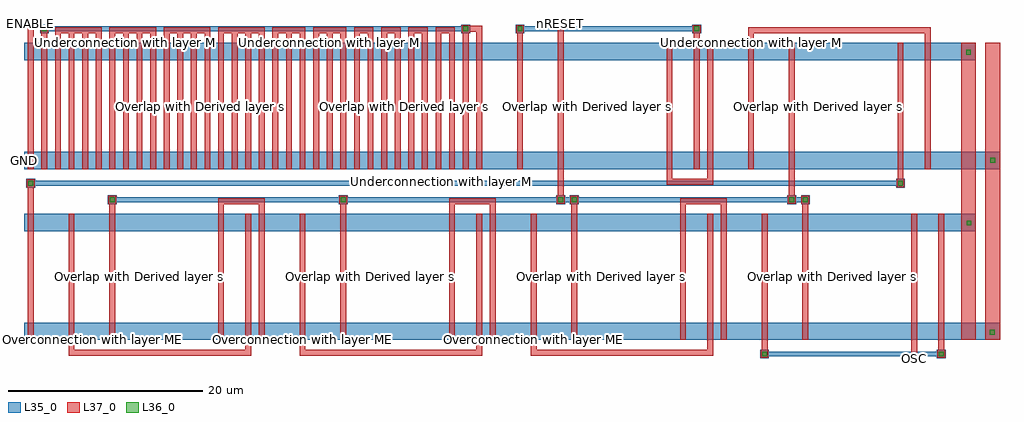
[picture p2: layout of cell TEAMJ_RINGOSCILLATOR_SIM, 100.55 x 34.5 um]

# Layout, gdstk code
import gdstk
lib = gdstk.Library(unit=1e-6, precision=1e-09)
def R(c, l, rs):  # rectangles x0, y0, x1, y1
    for r in rs: c.add(gdstk.rectangle(r[:2], r[2:], *l))
def A(c, l, x, y, w, h, nx, ny, dx, dy):  # array of equal rectangles
    R(c, l, [(x+i*dx, y+j*dy, x+i*dx+w, y+j*dy+h) for i in range(nx) for j in range(ny)])
L35_0 = (35, 0)
L36_0 = (36, 0)
L37_0 = (37, 0)

via1 = lib.new_cell('VIA1')
R(via1, L35_0, [(-0.45,-0.45,0.45,0.45)])
R(via1, L36_0, [(-0.25,-0.25,0.25,0.25)])
R(via1, L37_0, [(-0.4,-0.4,0.4,0.4)])

nand31_h = lib.new_cell('NAND31_H')
R(nand31_h, L35_0, [(0,0,5.6,1.8), (0,11.2,5.6,13)])
nand31_h.add(gdstk.FlexPath([(4.9,13),(4.9,0)], 0.6, ends="flush", simple_path=True, layer=37, datatype=0))  # L37_0
nand31_h.add(gdstk.FlexPath([(3.5,0),(3.5,13)], 0.6, ends="flush", simple_path=True, layer=37, datatype=0))  # L37_0
nand31_h.add(gdstk.FlexPath([(2.1,13),(2.1,0)], 0.6, ends="flush", simple_path=True, layer=37, datatype=0))  # L37_0
nand31_h.add(gdstk.FlexPath([(0.7,0),(0.7,13)], 0.6, ends="flush", simple_path=True, layer=37, datatype=0))  # L37_0
nand31_h.add(gdstk.Label('NAND31', (2.8,6.5), layer=61, texttype=0))
nand31_h.add(gdstk.Label('Q', (4.9,13), layer=37, texttype=0))
nand31_h.add(gdstk.Label('A', (3.5,13), layer=37, texttype=0))
nand31_h.add(gdstk.Label('B', (2.1,13), layer=37, texttype=0))
nand31_h.add(gdstk.Label('C', (0.7,13), layer=37, texttype=0))
nand31_h.add(gdstk.Label('Q', (4.9,0), layer=37, texttype=0))
nand31_h.add(gdstk.Label('A', (3.5,0), layer=37, texttype=0))
nand31_h.add(gdstk.Label('B', (2.1,0), layer=37, texttype=0))
nand31_h.add(gdstk.Label('C', (0.7,0), layer=37, texttype=0))
nand31_h.add(gdstk.Label('vdd', (0,12.1), layer=35, texttype=0))
nand31_h.add(gdstk.Label('vdd', (5.6,12.1), layer=35, texttype=0))
nand31_h.add(gdstk.Label('gnd', (0,0.9), layer=35, texttype=0))
nand31_h.add(gdstk.Label('gnd', (5.6,0.9), layer=35, texttype=0))

nand21_h = lib.new_cell('NAND21_H')
R(nand21_h, L35_0, [(0,0,4.2,1.8), (0,11.2,4.2,13)])
nand21_h.add(gdstk.FlexPath([(3.5,0),(3.5,13)], 0.6, ends="flush", simple_path=True, layer=37, datatype=0))  # L37_0
nand21_h.add(gdstk.FlexPath([(2.1,13),(2.1,0)], 0.6, ends="flush", simple_path=True, layer=37, datatype=0))  # L37_0
nand21_h.add(gdstk.FlexPath([(0.7,0),(0.7,13)], 0.6, ends="flush", simple_path=True, layer=37, datatype=0))  # L37_0
nand21_h.add(gdstk.Label('NAND21', (2.1,6.5), layer=61, texttype=0))
nand21_h.add(gdstk.Label('Q', (3.5,0), layer=37, texttype=0))
nand21_h.add(gdstk.Label('A', (2.1,0), layer=37, texttype=0))
nand21_h.add(gdstk.Label('B', (0.7,0), layer=37, texttype=0))
nand21_h.add(gdstk.Label('Q', (3.5,13), layer=37, texttype=0))
nand21_h.add(gdstk.Label('A', (2.1,13), layer=37, texttype=0))
nand21_h.add(gdstk.Label('B', (0.7,13), layer=37, texttype=0))
nand21_h.add(gdstk.Label('vdd', (0,12.1), layer=35, texttype=0))
nand21_h.add(gdstk.Label('vdd', (4.2,12.1), layer=35, texttype=0))
nand21_h.add(gdstk.Label('gnd', (0,0.9), layer=35, texttype=0))
nand21_h.add(gdstk.Label('gnd', (4.2,0.9), layer=35, texttype=0))

inv1_h = lib.new_cell('INV1_H')
inv1_h.add(gdstk.FlexPath([(2.8,0.9),(0,0.9)], 1.8, ends="flush", simple_path=True, layer=35, datatype=0))  # L35_0
inv1_h.add(gdstk.FlexPath([(2.8,12.1),(0,12.1)], 1.8, ends="flush", simple_path=True, layer=35, datatype=0))  # L35_0
inv1_h.add(gdstk.FlexPath([(2.1,0),(2.1,13)], 0.6, ends="flush", simple_path=True, layer=37, datatype=0))  # L37_0
inv1_h.add(gdstk.FlexPath([(0.7,13),(0.7,0)], 0.6, ends="flush", simple_path=True, layer=37, datatype=0))  # L37_0
inv1_h.add(gdstk.Label('INV1', (1.4,6.5), layer=61, texttype=0))
inv1_h.add(gdstk.Label('GND', (2.8,0.9), layer=35, texttype=0))
inv1_h.add(gdstk.Label('VDD', (2.8,12.1), layer=35, texttype=0))
inv1_h.add(gdstk.Label('Q', (2.1,0), layer=37, texttype=0))
inv1_h.add(gdstk.Label('A', (0.7,0), layer=37, texttype=0))
inv1_h.add(gdstk.Label('Q', (2.1,13), layer=37, texttype=0))
inv1_h.add(gdstk.Label('A', (0.7,13), layer=37, texttype=0))
inv1_h.add(gdstk.Label('GND', (0,0.9), layer=35, texttype=0))
inv1_h.add(gdstk.Label('VDD', (0,12.1), layer=35, texttype=0))

dfc1_h = lib.new_cell('DFC1_H')
R(dfc1_h, L35_0, [(0,0,23.8,1.8), (0,11.2,23.8,13)])
dfc1_h.add(gdstk.FlexPath([(23.1,13),(23.1,0)], 0.6, ends="flush", simple_path=True, layer=37, datatype=0))  # L37_0
dfc1_h.add(gdstk.FlexPath([(20.3,0),(20.3,13)], 0.6, ends="flush", simple_path=True, layer=37, datatype=0))  # L37_0
dfc1_h.add(gdstk.FlexPath([(9.1,13),(9.1,0)], 0.6, ends="flush", simple_path=True, layer=37, datatype=0))  # L37_0
dfc1_h.add(gdstk.FlexPath([(4.9,0),(4.9,13)], 0.6, ends="flush", simple_path=True, layer=37, datatype=0))  # L37_0
dfc1_h.add(gdstk.FlexPath([(0.7,0),(0.7,13)], 0.6, ends="flush", simple_path=True, layer=37, datatype=0))  # L37_0
dfc1_h.add(gdstk.Label('DFC1', (11.9,6.5), layer=61, texttype=0))
dfc1_h.add(gdstk.Label('QN', (23.1,0), layer=37, texttype=0))
dfc1_h.add(gdstk.Label('Q', (20.3,0), layer=37, texttype=0))
dfc1_h.add(gdstk.Label('RN', (9.1,0), layer=37, texttype=0))
dfc1_h.add(gdstk.Label('D', (4.9,0), layer=37, texttype=0))
dfc1_h.add(gdstk.Label('C', (0.7,0), layer=37, texttype=0))
dfc1_h.add(gdstk.Label('QN', (23.1,13), layer=37, texttype=0))
dfc1_h.add(gdstk.Label('Q', (20.3,13), layer=37, texttype=0))
dfc1_h.add(gdstk.Label('RN', (9.1,13), layer=37, texttype=0))
dfc1_h.add(gdstk.Label('D', (4.9,13), layer=37, texttype=0))
dfc1_h.add(gdstk.Label('C', (0.7,13), layer=37, texttype=0))
dfc1_h.add(gdstk.Label('gnd', (0,0.9), layer=35, texttype=0))
dfc1_h.add(gdstk.Label('vdd', (0,12.1), layer=35, texttype=0))
dfc1_h.add(gdstk.Label('vdd', (23.8,12.1), layer=35, texttype=0))
dfc1_h.add(gdstk.Label('gnd', (23.8,0.9), layer=35, texttype=0))

teamj_ringoscillator = lib.new_cell('TEAMJ_RINGOSCILLATOR')
R(teamj_ringoscillator, L35_0, [(16.75,-1.4,17.25,-0.9), (40.55,-1.4,41.05,-0.9), (54.8,2,56.2,3.8), (54.8,13.2,56.2,15)])
A(teamj_ringoscillator, L37_0, -30.2, -2.6, 0.6, 1.05, 4, 1, 23.8, 0)
R(teamj_ringoscillator, L37_0, [(-38.6,-2.6,-38,0.15), (16,-0.75,16.6,2), (39.8,-0.75,40.4,2), (51,0.95,51.6,2), (-38.6,15,-38,17), (-37.2,15,-36.6,16.05), (6.2,15,6.8,16.05)])
teamj_ringoscillator.add(gdstk.FlexPath([(29.85,16.45),(12.55,16.45)], 0.5, ends="flush", simple_path=True, layer=35, datatype=0))  # L35_0
teamj_ringoscillator.add(gdstk.FlexPath([(55.05,-17.05),(37.75,-17.05)], 0.5, ends="flush", simple_path=True, layer=35, datatype=0))  # L35_0
teamj_ringoscillator.add(gdstk.FlexPath([(39.65,-1.15),(18.15,-1.15)], 0.5, ends="flush", simple_path=True, layer=35, datatype=0))  # L35_0
teamj_ringoscillator.add(gdstk.FlexPath([(15.85,-1.15),(-5.65,-1.15)], 0.5, ends="flush", simple_path=True, layer=35, datatype=0))  # L35_0
teamj_ringoscillator.add(gdstk.FlexPath([(-6.55,-1.15),(-29.45,-1.15)], 0.5, ends="flush", simple_path=True, layer=35, datatype=0))  # L35_0
teamj_ringoscillator.add(gdstk.FlexPath([(50.85,0.55),(-37.85,0.55)], 0.5, ends="flush", simple_path=True, layer=35, datatype=0))  # L35_0
teamj_ringoscillator.add(gdstk.FlexPath([(6.05,16.45),(-36.45,16.45)], 0.5, ends="flush", simple_path=True, layer=35, datatype=0))  # L35_0
teamj_ringoscillator.add(gdstk.FlexPath([(-35.5,15),(-35.5,16.3),(-34.1,16.3),(-34.1,15)], 0.6, ends="flush", simple_path=True, layer=37, datatype=0))  # L37_0
teamj_ringoscillator.add(gdstk.FlexPath([(16.3,17),(16.3,15)], 0.6, ends="flush", simple_path=True, layer=37, datatype=0))  # L37_0
teamj_ringoscillator.add(gdstk.FlexPath([(12.1,16.05),(12.1,15)], 0.6, ends="flush", simple_path=True, layer=37, datatype=0))  # L37_0
teamj_ringoscillator.add(gdstk.FlexPath([(30.3,16.05),(30.3,15)], 0.6, ends="flush", simple_path=True, layer=37, datatype=0))  # L37_0
teamj_ringoscillator.add(gdstk.FlexPath([(52.7,-17.5),(52.7,-15.6)], 0.6, ends="flush", simple_path=True, layer=37, datatype=0))  # L37_0
teamj_ringoscillator.add(gdstk.FlexPath([(37.3,-16.65),(37.3,-15.6)], 0.6, ends="flush", simple_path=True, layer=37, datatype=0))  # L37_0
teamj_ringoscillator.add(gdstk.FlexPath([(55.5,-16.65),(55.5,-15.6)], 0.6, ends="flush", simple_path=True, layer=37, datatype=0))  # L37_0
teamj_ringoscillator.add(gdstk.FlexPath([(33.1,-2.6),(33.1,-1.3),(28.9,-1.3),(28.9,-2.6)], 0.6, ends="flush", simple_path=True, layer=37, datatype=0))  # L37_0
teamj_ringoscillator.add(gdstk.FlexPath([(31.7,-15.6),(31.7,-16.9),(13.5,-16.9),(13.5,-15.6)], 0.6, ends="flush", simple_path=True, layer=37, datatype=0))  # L37_0
teamj_ringoscillator.add(gdstk.FlexPath([(9.3,-2.6),(9.3,-1.3),(5.1,-1.3),(5.1,-2.6)], 0.6, ends="flush", simple_path=True, layer=37, datatype=0))  # L37_0
teamj_ringoscillator.add(gdstk.FlexPath([(7.9,-15.6),(7.9,-16.9),(-10.3,-16.9),(-10.3,-15.6)], 0.6, ends="flush", simple_path=True, layer=37, datatype=0))  # L37_0
teamj_ringoscillator.add(gdstk.FlexPath([(-15.9,-15.6),(-15.9,-16.9),(-34.1,-16.9),(-34.1,-15.6)], 0.6, ends="flush", simple_path=True, layer=37, datatype=0))  # L37_0
teamj_ringoscillator.add(gdstk.FlexPath([(-14.5,-2.6),(-14.5,-1.3),(-18.7,-1.3),(-18.7,-2.6)], 0.6, ends="flush", simple_path=True, layer=37, datatype=0))  # L37_0
teamj_ringoscillator.add(gdstk.FlexPath([(54.1,15),(54.1,16.3),(35.9,16.3),(35.9,15)], 0.6, ends="flush", simple_path=True, layer=37, datatype=0))  # L37_0
teamj_ringoscillator.add(gdstk.FlexPath([(31.7,2),(31.7,0.7),(27.5,0.7),(27.5,2)], 0.6, ends="flush", simple_path=True, layer=37, datatype=0))  # L37_0
teamj_ringoscillator.add(gdstk.FlexPath([(7.9,15),(7.9,16.45),(6.9,16.45)], 0.6, ends="flush", simple_path=True, layer=37, datatype=0))  # L37_0
teamj_ringoscillator.add(gdstk.FlexPath([(5.1,15),(5.1,16.3),(3.7,16.3),(3.7,15)], 0.6, ends="flush", simple_path=True, layer=37, datatype=0))  # L37_0
teamj_ringoscillator.add(gdstk.FlexPath([(2.3,15),(2.3,16.3),(0.9,16.3),(0.9,15)], 0.6, ends="flush", simple_path=True, layer=37, datatype=0))  # L37_0
teamj_ringoscillator.add(gdstk.FlexPath([(-0.5,15),(-0.5,16.3),(-1.9,16.3),(-1.9,15)], 0.6, ends="flush", simple_path=True, layer=37, datatype=0))  # L37_0
teamj_ringoscillator.add(gdstk.FlexPath([(-3.3,15),(-3.3,16.3),(-4.7,16.3),(-4.7,15)], 0.6, ends="flush", simple_path=True, layer=37, datatype=0))  # L37_0
teamj_ringoscillator.add(gdstk.FlexPath([(-6.1,15),(-6.1,16.3),(-7.2,16.3)], 0.6, ends="flush", simple_path=True, layer=37, datatype=0))  # L37_0
teamj_ringoscillator.add(gdstk.FlexPath([(-7.5,15),(-7.5,16.3),(-8.9,16.3),(-8.9,15)], 0.6, ends="flush", simple_path=True, layer=37, datatype=0))  # L37_0
teamj_ringoscillator.add(gdstk.FlexPath([(-10.3,15),(-10.3,16.3),(-11.4,16.3)], 0.6, ends="flush", simple_path=True, layer=37, datatype=0))  # L37_0
teamj_ringoscillator.add(gdstk.FlexPath([(-11.7,15),(-11.7,16.3),(-13.1,16.3),(-13.1,15)], 0.6, ends="flush", simple_path=True, layer=37, datatype=0))  # L37_0
teamj_ringoscillator.add(gdstk.FlexPath([(-14.5,15),(-14.5,16.3),(-15.6,16.3)], 0.6, ends="flush", simple_path=True, layer=37, datatype=0))  # L37_0
teamj_ringoscillator.add(gdstk.FlexPath([(-15.9,15),(-15.9,16.3),(-17,16.3)], 0.6, ends="flush", simple_path=True, layer=37, datatype=0))  # L37_0
teamj_ringoscillator.add(gdstk.FlexPath([(-17.3,15),(-17.3,16.3),(-18.7,16.3),(-18.7,15)], 0.6, ends="flush", simple_path=True, layer=37, datatype=0))  # L37_0
teamj_ringoscillator.add(gdstk.FlexPath([(-20.1,15),(-20.1,16.3),(-21.2,16.3)], 0.6, ends="flush", simple_path=True, layer=37, datatype=0))  # L37_0
teamj_ringoscillator.add(gdstk.FlexPath([(-21.5,15),(-21.5,16.3),(-22.6,16.3)], 0.6, ends="flush", simple_path=True, layer=37, datatype=0))  # L37_0
teamj_ringoscillator.add(gdstk.FlexPath([(-22.9,15),(-22.9,16.3),(-24.3,16.3),(-24.3,15)], 0.6, ends="flush", simple_path=True, layer=37, datatype=0))  # L37_0
teamj_ringoscillator.add(gdstk.FlexPath([(-25.7,15),(-25.7,16.3),(-26.8,16.3)], 0.6, ends="flush", simple_path=True, layer=37, datatype=0))  # L37_0
teamj_ringoscillator.add(gdstk.FlexPath([(-27.1,15),(-27.1,16.3),(-28.2,16.3)], 0.6, ends="flush", simple_path=True, layer=37, datatype=0))  # L37_0
teamj_ringoscillator.add(gdstk.FlexPath([(-28.5,15),(-28.5,16.3),(-29.9,16.3),(-29.9,15)], 0.6, ends="flush", simple_path=True, layer=37, datatype=0))  # L37_0
teamj_ringoscillator.add(gdstk.FlexPath([(-31.3,15),(-31.3,16.3),(-32.4,16.3)], 0.6, ends="flush", simple_path=True, layer=37, datatype=0))  # L37_0
teamj_ringoscillator.add(gdstk.FlexPath([(-32.7,15),(-32.7,16.3),(-33.8,16.3)], 0.6, ends="flush", simple_path=True, layer=37, datatype=0))  # L37_0
teamj_ringoscillator.add(gdstk.Reference(nand31_h, (-34.8,2)))
teamj_ringoscillator.add(gdstk.Reference(via1, (30.3,16.45)))
teamj_ringoscillator.add(gdstk.Reference(via1, (12.1,16.45)))
teamj_ringoscillator.add(gdstk.Reference(via1, (55.5,-17.05)))
teamj_ringoscillator.add(gdstk.Reference(via1, (37.3,-17.05)))
teamj_ringoscillator.add(gdstk.Reference(via1, (-29.9,-1.15)))
teamj_ringoscillator.add(gdstk.Reference(via1, (-6.1,-1.15)))
teamj_ringoscillator.add(gdstk.Reference(via1, (17.7,-1.15)))
teamj_ringoscillator.add(gdstk.Reference(via1, (16.3,-1.15)))
teamj_ringoscillator.add(gdstk.Reference(via1, (41.5,-1.15)))
teamj_ringoscillator.add(gdstk.Reference(via1, (40.1,-1.15)))
teamj_ringoscillator.add(gdstk.Reference(via1, (-38.3,0.55)))
teamj_ringoscillator.add(gdstk.Reference(via1, (51.3,0.55)))
teamj_ringoscillator.add(gdstk.Reference(via1, (-36.9,16.45)))
teamj_ringoscillator.add(gdstk.Reference(via1, (6.5,16.45)))
teamj_ringoscillator.add(gdstk.Reference(nand21_h, (-39,2)))
teamj_ringoscillator.add(gdstk.Reference(nand31_h, (-29.2,2)))
teamj_ringoscillator.add(gdstk.Reference(nand31_h, (-23.6,2)))
teamj_ringoscillator.add(gdstk.Reference(nand31_h, (-18,2)))
teamj_ringoscillator.add(gdstk.Reference(nand21_h, (-12.4,2)))
teamj_ringoscillator.add(gdstk.Reference(nand21_h, (-8.2,2)))
teamj_ringoscillator.add(gdstk.Reference(inv1_h, (-4,2)))
teamj_ringoscillator.add(gdstk.Reference(inv1_h, (-1.2,2)))
teamj_ringoscillator.add(gdstk.Reference(inv1_h, (1.6,2)))
teamj_ringoscillator.add(gdstk.Reference(inv1_h, (4.4,2)))
teamj_ringoscillator.add(gdstk.Reference(dfc1_h, (7.2,2)))
teamj_ringoscillator.add(gdstk.Reference(dfc1_h, (32.4,-15.6)))
teamj_ringoscillator.add(gdstk.Reference(dfc1_h, (8.6,-15.6)))
teamj_ringoscillator.add(gdstk.Reference(dfc1_h, (-15.2,-15.6)))
teamj_ringoscillator.add(gdstk.Reference(dfc1_h, (-39,-15.6)))
teamj_ringoscillator.add(gdstk.Reference(dfc1_h, (31,2)))
teamj_ringoscillator.add(gdstk.Label('nRESET', (16.3,17), layer=37, texttype=0))
teamj_ringoscillator.add(gdstk.Label('OSC', (52.7,-17.5), layer=37, texttype=0))
teamj_ringoscillator.add(gdstk.Label('GND', (56.2,-14.7), layer=35, texttype=0))
teamj_ringoscillator.add(gdstk.Label('VDD', (56.2,-3.5), layer=35, texttype=0))
teamj_ringoscillator.add(gdstk.Label('GND', (56.2,2.9), layer=35, texttype=0))
teamj_ringoscillator.add(gdstk.Label('VDD', (56.2,14.1), layer=35, texttype=0))
teamj_ringoscillator.add(gdstk.Label('GND', (-39,-14.7), layer=35, texttype=0))
teamj_ringoscillator.add(gdstk.Label('VDD', (-39,-3.5), layer=35, texttype=0))
teamj_ringoscillator.add(gdstk.Label('GND', (-39,2.9), layer=35, texttype=0))
teamj_ringoscillator.add(gdstk.Label('VDD', (-39,14.1), layer=35, texttype=0))
teamj_ringoscillator.add(gdstk.Label('ENABLE', (-38.3,17), layer=37, texttype=0))

teamj_ringoscillator_sim = lib.new_cell('TEAMJ_RINGOSCILLATOR_SIM')
R(teamj_ringoscillator_sim, L35_0, [(52.15,-16.35,57.5,-14.55), (52.15,-5.15,55,-3.35), (52.15,1.25,57.5,3.05), (52.15,12.45,55,14.25)])
R(teamj_ringoscillator_sim, L37_0, [(53.5,-16.35,55,14.25), (56,-16.35,57.5,14.25)])
teamj_ringoscillator_sim.add(gdstk.Reference(via1, (56.7,-15.55)))
teamj_ringoscillator_sim.add(gdstk.Reference(via1, (54.3,-4.3)))
teamj_ringoscillator_sim.add(gdstk.Reference(via1, (56.75,2.15)))
teamj_ringoscillator_sim.add(gdstk.Reference(via1, (54.25,13.3)))
teamj_ringoscillator_sim.add(gdstk.Reference(teamj_ringoscillator, (-4.05,-0.75)))
teamj_ringoscillator_sim.add(gdstk.Label('Overlap with Derived layer subs', (38.85,7.75), layer=63, texttype=0))
teamj_ringoscillator_sim.add(gdstk.Label('Overlap with Derived layer allsubs', (38.85,7.75), layer=63, texttype=0))
teamj_ringoscillator_sim.add(gdstk.Label('Underconnection with layer MET2', (0,0), layer=63, texttype=0))
teamj_ringoscillator_sim.add(gdstk.Label('Underconnection with layer MET2', (0,0), layer=63, texttype=0))
teamj_ringoscillator_sim.add(gdstk.Label('Overconnection with layer MET2', (0,0), layer=63, texttype=0))
teamj_ringoscillator_sim.add(gdstk.Label('Overconnection with layer MET2', (0,0), layer=63, texttype=0))
teamj_ringoscillator_sim.add(gdstk.Label('Underconnection with layer MET2', (31.85,14.25), layer=63, texttype=0))
teamj_ringoscillator_sim.add(gdstk.Label('Overconnection with layer MET2', (31.85,14.25), layer=63, texttype=0))
teamj_ringoscillator_sim.add(gdstk.Label('Overlap with Derived layer subs', (-31.15,-9.85), layer=63, texttype=0))
teamj_ringoscillator_sim.add(gdstk.Label('Overlap with Derived layer allsubs', (-31.15,-9.85), layer=63, texttype=0))
teamj_ringoscillator_sim.add(gdstk.Label('Overconnection with layer MET2', (0,0), layer=63, texttype=0))
teamj_ringoscillator_sim.add(gdstk.Label('Overconnection with layer MET2', (0,0), layer=63, texttype=0))
teamj_ringoscillator_sim.add(gdstk.Label('Overconnection with layer MET2', (-38.15,-16.35), layer=63, texttype=0))
teamj_ringoscillator_sim.add(gdstk.Label('Overlap with Derived layer subs', (-7.35,-9.85), layer=63, texttype=0))
teamj_ringoscillator_sim.add(gdstk.Label('Overlap with Derived layer allsubs', (-7.35,-9.85), layer=63, texttype=0))
teamj_ringoscillator_sim.add(gdstk.Label('Overconnection with layer MET2', (0,0), layer=63, texttype=0))
teamj_ringoscillator_sim.add(gdstk.Label('Overconnection with layer MET2', (0,0), layer=63, texttype=0))
teamj_ringoscillator_sim.add(gdstk.Label('Overconnection with layer MET2', (-14.35,-16.35), layer=63, texttype=0))
teamj_ringoscillator_sim.add(gdstk.Label('Overlap with Derived layer subs', (16.45,-9.85), layer=63, texttype=0))
teamj_ringoscillator_sim.add(gdstk.Label('Overlap with Derived layer allsubs', (16.45,-9.85), layer=63, texttype=0))
teamj_ringoscillator_sim.add(gdstk.Label('Overconnection with layer MET2', (0,0), layer=63, texttype=0))
teamj_ringoscillator_sim.add(gdstk.Label('Overconnection with layer MET2', (0,0), layer=63, texttype=0))
teamj_ringoscillator_sim.add(gdstk.Label('Overconnection with layer MET2', (9.45,-16.35), layer=63, texttype=0))
teamj_ringoscillator_sim.add(gdstk.Label('Overlap with Derived layer subs', (40.25,-9.85), layer=63, texttype=0))
teamj_ringoscillator_sim.add(gdstk.Label('Overlap with Derived layer allsubs', (40.25,-9.85), layer=63, texttype=0))
teamj_ringoscillator_sim.add(gdstk.Label('Overlap with Derived layer subs', (15.05,7.75), layer=63, texttype=0))
teamj_ringoscillator_sim.add(gdstk.Label('Overlap with Derived layer allsubs', (15.05,7.75), layer=63, texttype=0))
teamj_ringoscillator_sim.add(gdstk.Label('Overlap with Derived layer subs', (1.75,7.75), layer=63, texttype=0))
teamj_ringoscillator_sim.add(gdstk.Label('Overlap with Derived layer allsubs', (1.75,7.75), layer=63, texttype=0))
teamj_ringoscillator_sim.add(gdstk.Label('Overlap with Derived layer subs', (-1.05,7.75), layer=63, texttype=0))
teamj_ringoscillator_sim.add(gdstk.Label('Overlap with Derived layer allsubs', (-1.05,7.75), layer=63, texttype=0))
teamj_ringoscillator_sim.add(gdstk.Label('Overlap with Derived layer subs', (-3.85,7.75), layer=63, texttype=0))
teamj_ringoscillator_sim.add(gdstk.Label('Overlap with Derived layer allsubs', (-3.85,7.75), layer=63, texttype=0))
teamj_ringoscillator_sim.add(gdstk.Label('Overlap with Derived layer subs', (-6.65,7.75), layer=63, texttype=0))
teamj_ringoscillator_sim.add(gdstk.Label('Overlap with Derived layer allsubs', (-6.65,7.75), layer=63, texttype=0))
teamj_ringoscillator_sim.add(gdstk.Label('Overlap with Derived layer subs', (-10.15,7.75), layer=63, texttype=0))
teamj_ringoscillator_sim.add(gdstk.Label('Overlap with Derived layer allsubs', (-10.15,7.75), layer=63, texttype=0))
teamj_ringoscillator_sim.add(gdstk.Label('Underconnection with layer MET2', (0,0), layer=63, texttype=0))
teamj_ringoscillator_sim.add(gdstk.Label('Underconnection with layer MET2', (0,0), layer=63, texttype=0))
teamj_ringoscillator_sim.add(gdstk.Label('Overconnection with layer MET2', (0,0), layer=63, texttype=0))
teamj_ringoscillator_sim.add(gdstk.Label('Overconnection with layer MET2', (0,0), layer=63, texttype=0))
teamj_ringoscillator_sim.add(gdstk.Label('Underconnection with layer MET2', (-11.55,14.25), layer=63, texttype=0))
teamj_ringoscillator_sim.add(gdstk.Label('Overconnection with layer MET2', (-11.55,14.25), layer=63, texttype=0))
teamj_ringoscillator_sim.add(gdstk.Label('Overlap with Derived layer subs', (-14.35,7.75), layer=63, texttype=0))
teamj_ringoscillator_sim.add(gdstk.Label('Overlap with Derived layer allsubs', (-14.35,7.75), layer=63, texttype=0))
teamj_ringoscillator_sim.add(gdstk.Label('Underconnection with layer MET2', (0,0), layer=63, texttype=0))
teamj_ringoscillator_sim.add(gdstk.Label('Underconnection with layer MET2', (0,0), layer=63, texttype=0))
teamj_ringoscillator_sim.add(gdstk.Label('Overconnection with layer MET2', (0,0), layer=63, texttype=0))
teamj_ringoscillator_sim.add(gdstk.Label('Overconnection with layer MET2', (0,0), layer=63, texttype=0))
teamj_ringoscillator_sim.add(gdstk.Label('Underconnection with layer MET2', (-15.75,14.25), layer=63, texttype=0))
teamj_ringoscillator_sim.add(gdstk.Label('Overconnection with layer MET2', (-15.75,14.25), layer=63, texttype=0))
teamj_ringoscillator_sim.add(gdstk.Label('Overlap with Derived layer subs', (-19.25,7.75), layer=63, texttype=0))
teamj_ringoscillator_sim.add(gdstk.Label('Overlap with Derived layer allsubs', (-19.25,7.75), layer=63, texttype=0))
teamj_ringoscillator_sim.add(gdstk.Label('Underconnection with layer MET2', (0,0), layer=63, texttype=0))
teamj_ringoscillator_sim.add(gdstk.Label('Underconnection with layer MET2', (0,0), layer=63, texttype=0))
teamj_ringoscillator_sim.add(gdstk.Label('Underconnection with layer MET2', (0,0), layer=63, texttype=0))
teamj_ringoscillator_sim.add(gdstk.Label('Overconnection with layer MET2', (0,0), layer=63, texttype=0))
teamj_ringoscillator_sim.add(gdstk.Label('Overconnection with layer MET2', (0,0), layer=63, texttype=0))
teamj_ringoscillator_sim.add(gdstk.Label('Overconnection with layer MET2', (0,0), layer=63, texttype=0))
teamj_ringoscillator_sim.add(gdstk.Label('Underconnection with layer MET2', (0,0), layer=63, texttype=0))
teamj_ringoscillator_sim.add(gdstk.Label('Underconnection with layer MET2', (0,0), layer=63, texttype=0))
teamj_ringoscillator_sim.add(gdstk.Label('Underconnection with layer MET2', (0,0), layer=63, texttype=0))
teamj_ringoscillator_sim.add(gdstk.Label('Overconnection with layer MET2', (0,0), layer=63, texttype=0))
teamj_ringoscillator_sim.add(gdstk.Label('Overconnection with layer MET2', (0,0), layer=63, texttype=0))
teamj_ringoscillator_sim.add(gdstk.Label('Overconnection with layer MET2', (0,0), layer=63, texttype=0))
teamj_ringoscillator_sim.add(gdstk.Label('Underconnection with layer MET2', (-21.35,14.25), layer=63, texttype=0))
teamj_ringoscillator_sim.add(gdstk.Label('Underconnection with layer MET2', (-21.35,14.25), layer=63, texttype=0))
teamj_ringoscillator_sim.add(gdstk.Label('Overconnection with layer MET2', (-21.35,14.25), layer=63, texttype=0))
teamj_ringoscillator_sim.add(gdstk.Label('Overconnection with layer MET2', (-21.35,14.25), layer=63, texttype=0))
teamj_ringoscillator_sim.add(gdstk.Label('Overlap with Derived layer subs', (-24.85,7.75), layer=63, texttype=0))
teamj_ringoscillator_sim.add(gdstk.Label('Overlap with Derived layer allsubs', (-24.85,7.75), layer=63, texttype=0))
teamj_ringoscillator_sim.add(gdstk.Label('Underconnection with layer MET2', (0,0), layer=63, texttype=0))
teamj_ringoscillator_sim.add(gdstk.Label('Underconnection with layer MET2', (0,0), layer=63, texttype=0))
teamj_ringoscillator_sim.add(gdstk.Label('Underconnection with layer MET2', (0,0), layer=63, texttype=0))
teamj_ringoscillator_sim.add(gdstk.Label('Overconnection with layer MET2', (0,0), layer=63, texttype=0))
teamj_ringoscillator_sim.add(gdstk.Label('Overconnection with layer MET2', (0,0), layer=63, texttype=0))
teamj_ringoscillator_sim.add(gdstk.Label('Overconnection with layer MET2', (0,0), layer=63, texttype=0))
teamj_ringoscillator_sim.add(gdstk.Label('Underconnection with layer MET2', (0,0), layer=63, texttype=0))
teamj_ringoscillator_sim.add(gdstk.Label('Underconnection with layer MET2', (0,0), layer=63, texttype=0))
teamj_ringoscillator_sim.add(gdstk.Label('Underconnection with layer MET2', (0,0), layer=63, texttype=0))
teamj_ringoscillator_sim.add(gdstk.Label('Overconnection with layer MET2', (0,0), layer=63, texttype=0))
teamj_ringoscillator_sim.add(gdstk.Label('Overconnection with layer MET2', (0,0), layer=63, texttype=0))
teamj_ringoscillator_sim.add(gdstk.Label('Overconnection with layer MET2', (0,0), layer=63, texttype=0))
teamj_ringoscillator_sim.add(gdstk.Label('Underconnection with layer MET2', (-26.95,14.25), layer=63, texttype=0))
teamj_ringoscillator_sim.add(gdstk.Label('Underconnection with layer MET2', (-26.95,14.25), layer=63, texttype=0))
teamj_ringoscillator_sim.add(gdstk.Label('Overconnection with layer MET2', (-26.95,14.25), layer=63, texttype=0))
teamj_ringoscillator_sim.add(gdstk.Label('Overconnection with layer MET2', (-26.95,14.25), layer=63, texttype=0))
teamj_ringoscillator_sim.add(gdstk.Label('Overlap with Derived layer subs', (-30.45,7.75), layer=63, texttype=0))
teamj_ringoscillator_sim.add(gdstk.Label('Overlap with Derived layer allsubs', (-30.45,7.75), layer=63, texttype=0))
teamj_ringoscillator_sim.add(gdstk.Label('Underconnection with layer MET2', (0,0), layer=63, texttype=0))
teamj_ringoscillator_sim.add(gdstk.Label('Underconnection with layer MET2', (0,0), layer=63, texttype=0))
teamj_ringoscillator_sim.add(gdstk.Label('Underconnection with layer MET2', (0,0), layer=63, texttype=0))
teamj_ringoscillator_sim.add(gdstk.Label('Overconnection with layer MET2', (0,0), layer=63, texttype=0))
teamj_ringoscillator_sim.add(gdstk.Label('Overconnection with layer MET2', (0,0), layer=63, texttype=0))
teamj_ringoscillator_sim.add(gdstk.Label('Overconnection with layer MET2', (0,0), layer=63, texttype=0))
teamj_ringoscillator_sim.add(gdstk.Label('Underconnection with layer MET2', (0,0), layer=63, texttype=0))
teamj_ringoscillator_sim.add(gdstk.Label('Underconnection with layer MET2', (0,0), layer=63, texttype=0))
teamj_ringoscillator_sim.add(gdstk.Label('Underconnection with layer MET2', (0,0), layer=63, texttype=0))
teamj_ringoscillator_sim.add(gdstk.Label('Overconnection with layer MET2', (0,0), layer=63, texttype=0))
teamj_ringoscillator_sim.add(gdstk.Label('Overconnection with layer MET2', (0,0), layer=63, texttype=0))
teamj_ringoscillator_sim.add(gdstk.Label('Overconnection with layer MET2', (0,0), layer=63, texttype=0))
teamj_ringoscillator_sim.add(gdstk.Label('Underconnection with layer MET2', (-32.55,14.25), layer=63, texttype=0))
teamj_ringoscillator_sim.add(gdstk.Label('Underconnection with layer MET2', (-32.55,14.25), layer=63, texttype=0))
teamj_ringoscillator_sim.add(gdstk.Label('Overconnection with layer MET2', (-32.55,14.25), layer=63, texttype=0))
teamj_ringoscillator_sim.add(gdstk.Label('Overconnection with layer MET2', (-32.55,14.25), layer=63, texttype=0))
teamj_ringoscillator_sim.add(gdstk.Label('Overlap with Derived layer subs', (-40.95,7.75), layer=63, texttype=0))
teamj_ringoscillator_sim.add(gdstk.Label('Overlap with Derived layer allsubs', (-40.95,7.75), layer=63, texttype=0))
teamj_ringoscillator_sim.add(gdstk.Label('Overlap with Derived layer subs', (-36.05,7.75), layer=63, texttype=0))
teamj_ringoscillator_sim.add(gdstk.Label('Overlap with Derived layer allsubs', (-36.05,7.75), layer=63, texttype=0))
teamj_ringoscillator_sim.add(gdstk.Label('Underconnection with layer MET2', (0,0), layer=63, texttype=0))
teamj_ringoscillator_sim.add(gdstk.Label('Underconnection with layer MET2', (0,0), layer=63, texttype=0))
teamj_ringoscillator_sim.add(gdstk.Label('Underconnection with layer MET2', (0,0), layer=63, texttype=0))
teamj_ringoscillator_sim.add(gdstk.Label('Overconnection with layer MET2', (0,0), layer=63, texttype=0))
teamj_ringoscillator_sim.add(gdstk.Label('Overconnection with layer MET2', (0,0), layer=63, texttype=0))
teamj_ringoscillator_sim.add(gdstk.Label('Overconnection with layer MET2', (0,0), layer=63, texttype=0))
teamj_ringoscillator_sim.add(gdstk.Label('Underconnection with layer MET2', (0,0), layer=63, texttype=0))
teamj_ringoscillator_sim.add(gdstk.Label('Underconnection with layer MET2', (0,0), layer=63, texttype=0))
teamj_ringoscillator_sim.add(gdstk.Label('Underconnection with layer MET2', (0,0), layer=63, texttype=0))
teamj_ringoscillator_sim.add(gdstk.Label('Overconnection with layer MET2', (0,0), layer=63, texttype=0))
teamj_ringoscillator_sim.add(gdstk.Label('Overconnection with layer MET2', (0,0), layer=63, texttype=0))
teamj_ringoscillator_sim.add(gdstk.Label('Overconnection with layer MET2', (0,0), layer=63, texttype=0))
teamj_ringoscillator_sim.add(gdstk.Label('Underconnection with layer MET2', (-38.15,14.25), layer=63, texttype=0))
teamj_ringoscillator_sim.add(gdstk.Label('Underconnection with layer MET2', (-38.15,14.25), layer=63, texttype=0))
teamj_ringoscillator_sim.add(gdstk.Label('Overconnection with layer MET2', (-38.15,14.25), layer=63, texttype=0))
teamj_ringoscillator_sim.add(gdstk.Label('Overconnection with layer MET2', (-38.15,14.25), layer=63, texttype=0))
teamj_ringoscillator_sim.add(gdstk.Label('GND', (-43.05,2.15), layer=35, texttype=0))
teamj_ringoscillator_sim.add(gdstk.Label('VDD', (-43.05,13.35), layer=35, texttype=0))
teamj_ringoscillator_sim.add(gdstk.Label('nRESET', (12.25,16.25), layer=37, texttype=0))
teamj_ringoscillator_sim.add(gdstk.Label('OSC', (48.65,-18.25), layer=37, texttype=0))
teamj_ringoscillator_sim.add(gdstk.Label('ENABLE', (-42.35,16.25), layer=37, texttype=0))

lib.write_gds('TEAMJ_RINGOSCILLATOR_SIM.gds')
